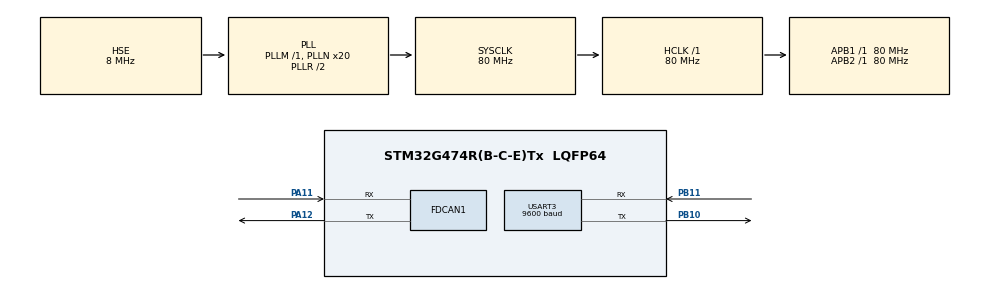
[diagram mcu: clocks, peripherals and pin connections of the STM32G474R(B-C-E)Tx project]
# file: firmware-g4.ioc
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FDCAN1.CalculateBaudRateNominal=125000
FDCAN1.CalculateTimeBitNominal=8000
FDCAN1.CalculateTimeQuantumNominal=250.0
FDCAN1.NominalPrescaler=2
FDCAN1.NominalSyncJumpWidth=4
FDCAN1.NominalTimeSeg1=27
FDCAN1.NominalTimeSeg2=4
Mcu.Family=STM32G4
Mcu.Name=STM32G474R(B-C-E)Tx
Mcu.Package=LQFP64
NVIC.PriorityGroup=NVIC_PRIORITYGROUP_4
PA11.Mode=FDCAN_Activate
PA11.Signal=FDCAN1_RX
PA12.Mode=FDCAN_Activate
PA12.Signal=FDCAN1_TX
PA13.Mode=Trace_Asynchronous_SW
PA13.Signal=SYS_JTMS-SWDIO
PA14.Mode=Trace_Asynchronous_SW
PA14.Signal=SYS_JTCK-SWCLK
PB10.Mode=Asynchronous
PB10.Signal=USART3_TX
PB11.Mode=Asynchronous
PB11.Signal=USART3_RX
PB3.Mode=Trace_Asynchronous_SW
PB3.Signal=SYS_JTDO-SWO
PF0-OSC_IN.Mode=HSE-External-Oscillator
PF0-OSC_IN.Signal=RCC_OSC_IN
PF1-OSC_OUT.Mode=HSE-External-Oscillator
PF1-OSC_OUT.Signal=RCC_OSC_OUT
ProjectManager.HeapSize=0x200
ProjectManager.StackSize=0x400
ProjectManager.TargetToolchain=CMake
RCC.ADC12Freq_Value=80000000
RCC.ADC345Freq_Value=80000000
RCC.AHBFreq_Value=80000000
RCC.APB1Freq_Value=80000000
RCC.APB1TimFreq_Value=80000000
RCC.APB2Freq_Value=80000000
RCC.APB2TimFreq_Value=80000000
RCC.CortexFreq_Value=80000000
RCC.EXTERNAL_CLOCK_VALUE=12288000
RCC.FDCANCLockSelection=RCC_FDCANCLKSOURCE_HSE
RCC.HCLKFreq_Value=80000000
RCC.HSE_VALUE=8000000
RCC.HSI48_VALUE=48000000
RCC.HSI_VALUE=16000000
RCC.LSE_VALUE=32768
RCC.PLLN=20
RCC.PLLSourceVirtual=RCC_PLLSOURCE_HSE
RCC.SYSCLKFreq_VALUE=80000000
RCC.SYSCLKSource=RCC_SYSCLKSOURCE_PLLCLK
RCC.USBFreq_Value=80000000
RCC.VCOOutputFreq_Value=160000000
USART3.BaudRate=9600
USART3.VirtualMode-Asynchronous=VM_ASYNC
VP_SYS_VS_DBSignals.Mode=DisableDeadBatterySignals
board=custom

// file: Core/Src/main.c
/* USER CODE BEGIN Header */
/**
  ******************************************************************************
  * @file           : main.c
  * @brief          : Main program body
  ******************************************************************************
  * @attention
  *
  * Copyright (c) 2026 STMicroelectronics.
  * All rights reserved.
  *
  * This software is licensed under terms that can be found in the LICENSE file
  * in the root directory of this software component.
  * If no LICENSE file comes with this software, it is provided AS-IS.
  *
  ******************************************************************************
  */
/* USER CODE END Header */
#include "main.h"

/* USER CODE BEGIN Includes */
#include "CANPacket.h"
#include "CANDevices.h"
#include "Ports/Port.h"
#include "Packets/Universal.h"
#include "stm32g4xx_hal.h"
#include "stm32g4xx_hal_def.h"
#include "stm32g4xx_hal_uart.h"
#include <stdint.h>
#include <string.h>
/* USER CODE END Includes */

FDCAN_HandleTypeDef hfdcan1;

UART_HandleTypeDef huart3;

void SystemClock_Config(void);
static void MX_GPIO_Init(void);
static void MX_FDCAN1_Init(void);
static void MX_USART3_UART_Init(void);

int main(void)
{

  /* MCU Configuration--------------------------------------------------------*/

  /* Reset of all peripherals, Initializes the Flash interface and the Systick. */
  HAL_Init();

  /* Configure the system clock */
  SystemClock_Config();

  /* Initialize all configured peripherals */
  MX_GPIO_Init();
  MX_FDCAN1_Init();
  MX_USART3_UART_Init();
  /* USER CODE BEGIN 2 */

  // define this board's domains and UUID
  CANDevice_t this_device = {
    .peripheralDomain = 0,
    .powerDomain = 0,
    .motorDomain = 0,
    .deviceUUID = CAN_UUID_DEBUG1
  };
  // get a pointer to the HAL CAN handle
  CANHandle_t can_handle = &hfdcan1;
  // initialize CAN with filters
  CANInit(can_handle, &this_device);

  // global packet variables
  CANPacket_t rx_packet;
  // CANPacket_t tx_packet;

  // device to send packets to
  // CANDevice_t other_device = {
  //   .peripheralDomain = 0,
  //   .powerDomain = 0,
  //   .motorDomain = 0,
  //   .deviceUUID = CAN_UUID_DEBUG2
  // };

  // form packet to send
  // tx_packet = CANUniversalPacket_HeartBeat(this_device, other_device, (uint32_t) 12, (uint8_t) 2);
  // send packet
  // CANSend(can_handle, &tx_packet);

  /* USER CODE END 2 */

  /* Infinite loop */
  /* USER CODE BEGIN WHILE */
  while (1)
  {
    // poll for available packets, sending the 8 data bytes over UART
    int8_t status = CANPollAndReceive(can_handle, &rx_packet);
    if (status < 0) {
      Error_Handler();
      // TODO: properly handle error
    }
    if (status == 1) {
      // pack the command, sender UUID, and contents into UART buffer
      uint8_t data[8];
      data[0] = (uint8_t) rx_packet.command;
      data[1] = (uint8_t) rx_packet.senderUUID;
      memcpy(data + 2, rx_packet.contents, 6);  // set last 6 bytes of data
      // send data over UART
      HAL_UART_Transmit(&huart3, data, 8, 1000);
    }

    // TODO: poll for UART and send over CAN

    /* USER CODE END WHILE */

  }
}

void SystemClock_Config(void)
{
  RCC_OscInitTypeDef RCC_OscInitStruct = {0};
  RCC_ClkInitTypeDef RCC_ClkInitStruct = {0};

  /** Configure the main internal regulator output voltage
  */
  HAL_PWREx_ControlVoltageScaling(PWR_REGULATOR_VOLTAGE_SCALE1);

  /** Initializes the RCC Oscillators according to the specified parameters
  * in the RCC_OscInitTypeDef structure.
  */
  RCC_OscInitStruct.OscillatorType = RCC_OSCILLATORTYPE_HSE;
  RCC_OscInitStruct.HSEState = RCC_HSE_ON;
  RCC_OscInitStruct.PLL.PLLState = RCC_PLL_ON;
  RCC_OscInitStruct.PLL.PLLSource = RCC_PLLSOURCE_HSE;
  RCC_OscInitStruct.PLL.PLLM = RCC_PLLM_DIV1;
  RCC_OscInitStruct.PLL.PLLN = 20;
  RCC_OscInitStruct.PLL.PLLP = RCC_PLLP_DIV2;
  RCC_OscInitStruct.PLL.PLLQ = RCC_PLLQ_DIV2;
  RCC_OscInitStruct.PLL.PLLR = RCC_PLLR_DIV2;
  if (HAL_RCC_OscConfig(&RCC_OscInitStruct) != HAL_OK)
  {
    Error_Handler();
  }

  /** Initializes the CPU, AHB and APB buses clocks
  */
  RCC_ClkInitStruct.ClockType = RCC_CLOCKTYPE_HCLK|RCC_CLOCKTYPE_SYSCLK
                              |RCC_CLOCKTYPE_PCLK1|RCC_CLOCKTYPE_PCLK2;
  RCC_ClkInitStruct.SYSCLKSource = RCC_SYSCLKSOURCE_PLLCLK;
  RCC_ClkInitStruct.AHBCLKDivider = RCC_SYSCLK_DIV1;
  RCC_ClkInitStruct.APB1CLKDivider = RCC_HCLK_DIV1;
  RCC_ClkInitStruct.APB2CLKDivider = RCC_HCLK_DIV1;

  if (HAL_RCC_ClockConfig(&RCC_ClkInitStruct, FLASH_LATENCY_2) != HAL_OK)
  {
    Error_Handler();
  }
}

static void MX_FDCAN1_Init(void)
{

  hfdcan1.Instance = FDCAN1;
  hfdcan1.Init.ClockDivider = FDCAN_CLOCK_DIV1;
  hfdcan1.Init.FrameFormat = FDCAN_FRAME_CLASSIC;
  hfdcan1.Init.Mode = FDCAN_MODE_NORMAL;
  hfdcan1.Init.AutoRetransmission = DISABLE;
  hfdcan1.Init.TransmitPause = DISABLE;
  hfdcan1.Init.ProtocolException = DISABLE;
  hfdcan1.Init.NominalPrescaler = 2;
  hfdcan1.Init.NominalSyncJumpWidth = 4;
  hfdcan1.Init.NominalTimeSeg1 = 27;
  hfdcan1.Init.NominalTimeSeg2 = 4;
  hfdcan1.Init.DataPrescaler = 1;
  hfdcan1.Init.DataSyncJumpWidth = 1;
  hfdcan1.Init.DataTimeSeg1 = 1;
  hfdcan1.Init.DataTimeSeg2 = 1;
  hfdcan1.Init.StdFiltersNbr = 0;
  hfdcan1.Init.ExtFiltersNbr = 0;
  hfdcan1.Init.TxFifoQueueMode = FDCAN_TX_FIFO_OPERATION;
  if (HAL_FDCAN_Init(&hfdcan1) != HAL_OK)
  {
    Error_Handler();
  }

}

static void MX_USART3_UART_Init(void)
{

  huart3.Instance = USART3;
  huart3.Init.BaudRate = 9600;
  huart3.Init.WordLength = UART_WORDLENGTH_8B;
  huart3.Init.StopBits = UART_STOPBITS_1;
  huart3.Init.Parity = UART_PARITY_NONE;
  huart3.Init.Mode = UART_MODE_TX_RX;
  huart3.Init.HwFlowCtl = UART_HWCONTROL_NONE;
  huart3.Init.OverSampling = UART_OVERSAMPLING_16;
  huart3.Init.OneBitSampling = UART_ONE_BIT_SAMPLE_DISABLE;
  huart3.Init.ClockPrescaler = UART_PRESCALER_DIV1;
  huart3.AdvancedInit.AdvFeatureInit = UART_ADVFEATURE_NO_INIT;
  if (HAL_UART_Init(&huart3) != HAL_OK)
  {
    Error_Handler();
  }
  if (HAL_UARTEx_SetTxFifoThreshold(&huart3, UART_TXFIFO_THRESHOLD_1_8) != HAL_OK)
  {
    Error_Handler();
  }
  if (HAL_UARTEx_SetRxFifoThreshold(&huart3, UART_RXFIFO_THRESHOLD_1_8) != HAL_OK)
  {
    Error_Handler();
  }
  if (HAL_UARTEx_DisableFifoMode(&huart3) != HAL_OK)
  {
    Error_Handler();
  }

}

static void MX_GPIO_Init(void)
{

  /* GPIO Ports Clock Enable */
  __HAL_RCC_GPIOF_CLK_ENABLE();
  __HAL_RCC_GPIOB_CLK_ENABLE();
  __HAL_RCC_GPIOA_CLK_ENABLE();

}

void Error_Handler(void)
{
  __disable_irq();
  while (1)
  {
  }
}
